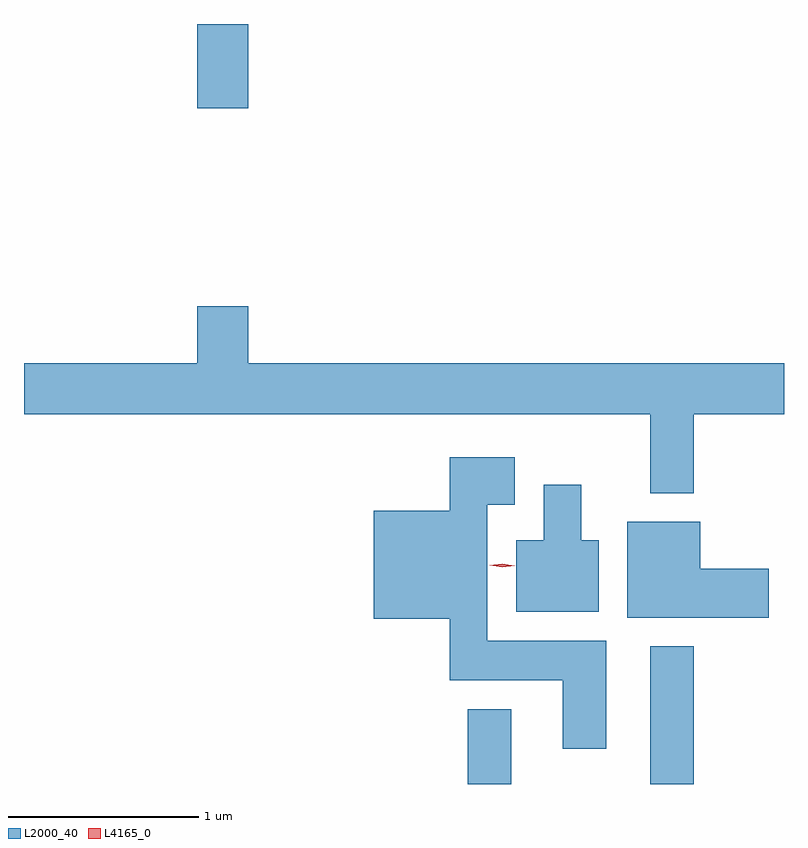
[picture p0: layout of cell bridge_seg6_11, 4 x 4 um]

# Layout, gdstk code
import gdstk
lib = gdstk.Library(unit=1e-6, precision=1e-09)
def R(c, l, rs):  # rectangles x0, y0, x1, y1
    for r in rs: c.add(gdstk.rectangle(r[:2], r[2:], *l))
def P(c, l, *ps):  # polygons
    for p in ps: c.add(gdstk.Polygon(p, *l))
L2000_40 = (2000, 40)
L4165_0 = (4165, 0)

bridge_seg6_11 = lib.new_cell('bridge_seg6_11')
R(bridge_seg6_11, L2000_40, [(1455.261,1656.87,1455.489,1657.264), (1456.221,1656.87,1456.449,1657.594), (1453.836,1660.426,1454.104,1660.87)])
P(bridge_seg6_11, L2000_40, [(1456.449,1658.816),(1456.925,1658.816),(1456.925,1659.084),(1454.104,1659.084),(1454.104,1659.384),(1453.836,1659.384),(1453.836,1659.084),(1452.925,1659.084),(1452.925,1658.816),(1456.221,1658.816),(1456.221,1658.401),(1456.449,1658.401)],
  [(1455.989,1657.624),(1455.364,1657.624),(1455.364,1658.341),(1455.509,1658.341),(1455.509,1658.589),(1455.166,1658.589),(1455.166,1658.309),(1454.766,1658.309),(1454.766,1657.741),(1455.166,1657.741),(1455.166,1657.416),(1455.761,1657.416),(1455.761,1657.056),(1455.989,1657.056)],
  [(1455.949,1658.154),(1455.859,1658.154),(1455.859,1658.444),(1455.661,1658.444),(1455.661,1658.154),(1455.516,1658.154),(1455.516,1657.776),(1455.949,1657.776)],
  [(1456.844,1658.004),(1456.484,1658.004),(1456.484,1658.249),(1456.101,1658.249),(1456.101,1657.746),(1456.844,1657.746)])
P(bridge_seg6_11, L4165_0, [(1455.442,1658.011),(1455.376,1658.021),(1455.376,1658.022),(1455.376,1658.022),(1455.442,1658.03),(1455.507,1658.02),(1455.508,1658.02),(1455.507,1658.019)])

lib.write_gds('bridge_seg6_11.gds')
